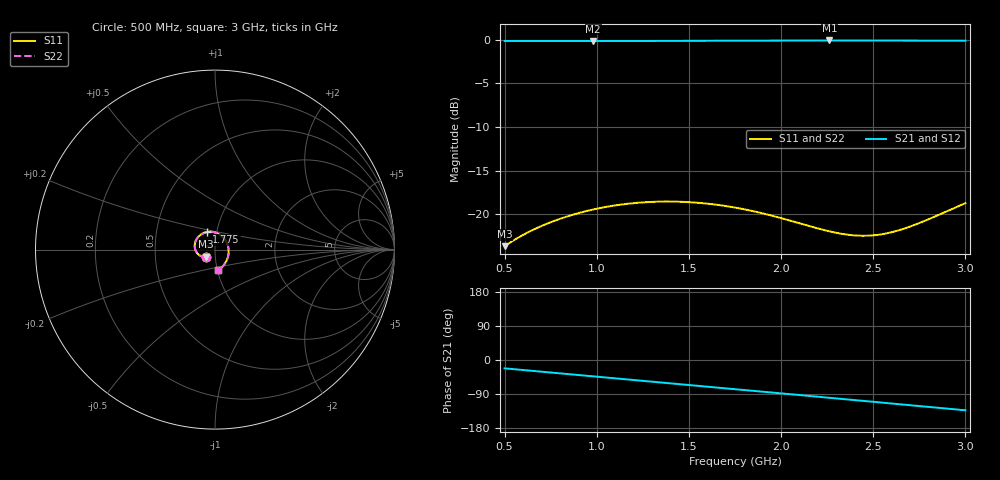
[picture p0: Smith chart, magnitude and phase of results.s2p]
! rfsim (KiCad + openEMS)
# HZ S RI R 50
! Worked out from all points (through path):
!   401 points, 500 MHz to 3 GHz, reference 50 ohm
!   highest |S21| = -0.07 dB at 2.263 GHz (marker M1); lowest = -0.1 dB at 981.2 MHz (marker M2)
!   group delay of S21, straight-line fit = 123 ps
!   lowest |S11| = -23.7 dB at 500 MHz (marker M3), VSWR 1.14, Z = 44.9 - j3.55 ohm
!   |S11| at or under -10 dB: start of sweep to end of sweep
!   |S22| runs from -23.7 to -18.6 dB; largest |S21 - S12| = 1.4e-06
!   S11 on the Smith chart (normalised r, x): 500 MHz: 0.90, -0.07; 1.775 GHz: 0.90, +0.18; 3 GHz: 1.01, -0.23
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5e8  -0.0523 -0.0394  0.9139 -0.3694  0.9139 -0.3694  -0.0523 -0.0394
6.0625e8  -0.0657 -0.0394  0.8806 -0.4423  0.8806 -0.4423  -0.0657 -0.0394
7e8  -0.0774 -0.0363  0.8464 -0.5041  0.8464 -0.5041  -0.0774 -0.0363
8.0625e8  -0.0899 -0.0291  0.8025 -0.5709  0.8025 -0.5709  -0.0899 -0.0291
9.1875e8  -0.101 -0.0177  0.7504 -0.6375  0.7504 -0.6375  -0.101 -0.0177
9.8125e8  -0.1059 -0.00989  0.7192 -0.6725  0.7192 -0.6725  -0.1059 -0.00989
1.15625e9  -0.1132 0.0163  0.6235 -0.7624  0.6235 -0.7624  -0.1132 0.0163
1.3375e9  -0.1084 0.0464  0.5128 -0.8419  0.5128 -0.8419  -0.1084 0.0464
1.55e9  -0.086 0.0781  0.37 -0.9154  0.37 -0.9154  -0.086 0.0781
1.75e9  -0.0509 0.0965  0.2254 -0.9631  0.2254 -0.9631  -0.0509 0.0965
1.775e9  -0.0458 0.0977  0.2068 -0.9675  0.2068 -0.9675  -0.0458 0.0977
1.975e9  -0.00271 0.0964  0.0546 -0.9895  0.0546 -0.9895  -0.00271 0.0964
2.16875e9  0.037 0.0759  -0.0955 -0.9874  -0.0955 -0.9874  0.037 0.0759
2.2625e9  0.0529 0.0596  -0.1678 -0.9779  -0.1678 -0.9779  0.0529 0.0596
2.35e9  0.0645 0.0411  -0.2345 -0.9639  -0.2345 -0.9639  0.0645 0.0411
2.43125e9  0.0719 0.0218  -0.2953 -0.9468  -0.2953 -0.9468  0.0719 0.0218
2.50625e9  0.0756 0.00268  -0.3503 -0.9274  -0.3503 -0.9274  0.0756 0.00268
2.5875e9  0.0759 -0.0188  -0.4082 -0.9028  -0.4082 -0.9028  0.0759 -0.0188
2.675e9  0.0718 -0.0418  -0.4685 -0.8724  -0.4685 -0.8724  0.0718 -0.0418
2.78125e9  0.0608 -0.0686  -0.5387 -0.8303  -0.5387 -0.8303  0.0608 -0.0686
2.91875e9  0.0375 -0.0992  -0.6241 -0.7677  -0.6241 -0.7677  0.0375 -0.0992
3e9  0.0194 -0.114  -0.6712 -0.7265  -0.6712 -0.7265  0.0194 -0.114
